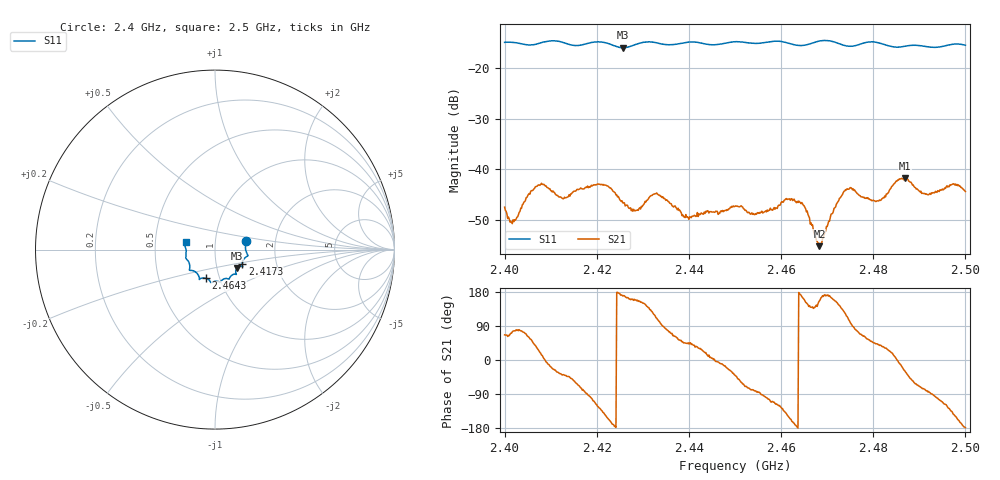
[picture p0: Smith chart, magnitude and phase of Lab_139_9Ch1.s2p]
# Hz S RI R 50
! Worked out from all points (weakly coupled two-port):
!   601 points, 2.4 GHz to 2.5 GHz, reference 50 ohm
!   highest |S21| = -41.75 dB at 2.4868 GHz (marker M1); lowest = -55.2 dB at 2.4683 GHz (marker M2)
!   lowest |S11| = -15.9 dB at 2.4257 GHz (marker M3), VSWR 1.38, Z = 62.4 - j13.1 ohm
!   |S11| at or under -10 dB: start of sweep to end of sweep
!   S12 and S22 are empty: the file has one direction only
!   S11 on the Smith chart (normalised r, x): 2.4 GHz: 1.41, +0.14; 2.4173 GHz: 1.34, -0.23; 2.4643 GHz: 0.86, -0.28; 2.5 GHz: 0.72, +0.06
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2.4e9  0.1736 0.0493  0.0017 0.00388  0 0  0 0
2.402e9  0.1751 0.0412  0.000696 0.00296  0 0  0 0
2.407667e9  0.1765 -0.0179  0.00655 0.00237  0 0  0 0
2.412833e9  0.1749 -0.0398  0.00402 -0.00323  0 0  0 0
2.416667e9  0.1525 -0.075  0.00175 -0.00625  0 0  0 0
2.417333e9  0.152 -0.0823  0.00088 -0.0064  0 0  0 0
2.422e9  0.1514 -0.0945  -0.0059 -0.00375  0 0  0 0
2.425667e9  0.1224 -0.1023  -0.00458 0.000902  0 0  0 0
2.428667e9  0.1154 -0.1293  -0.00361 0.00158  0 0  0 0
2.433333e9  0.1124 -0.1365  -0.00143 0.00544  0 0  0 0
2.44e9  0.0798 -0.1633  0.00238 0.00216  0 0  0 0
2.45e9  0.0295 -0.1809  0.00331 -0.00278  0 0  0 0
2.454333e9  0.00729 -0.176  0.00053 -0.00354  0 0  0 0
2.464333e9  -0.0502 -0.1601  -0.00453 0.000727  0 0  0 0
2.466667e9  -0.0761 -0.1595  -0.00211 0.00184  0 0  0 0
2.468333e9  -0.0859 -0.1649  -0.00159 0.000705  0 0  0 0
2.474e9  -0.0975 -0.1357  -0.00328 0.00539  0 0  0 0
2.480667e9  -0.1425 -0.1112  0.00354 0.00328  0 0  0 0
2.483333e9  -0.1406 -0.0896  0.00535 0.00256  0 0  0 0
2.486833e9  -0.1547 -0.0572  0.00719 -0.0039  0 0  0 0
2.4915e9  -0.1611 -0.0304  0.000874 -0.00567  0 0  0 0
2.5e9  -0.1637 0.0416  -0.00604 -0.000158  0 0  0 0
